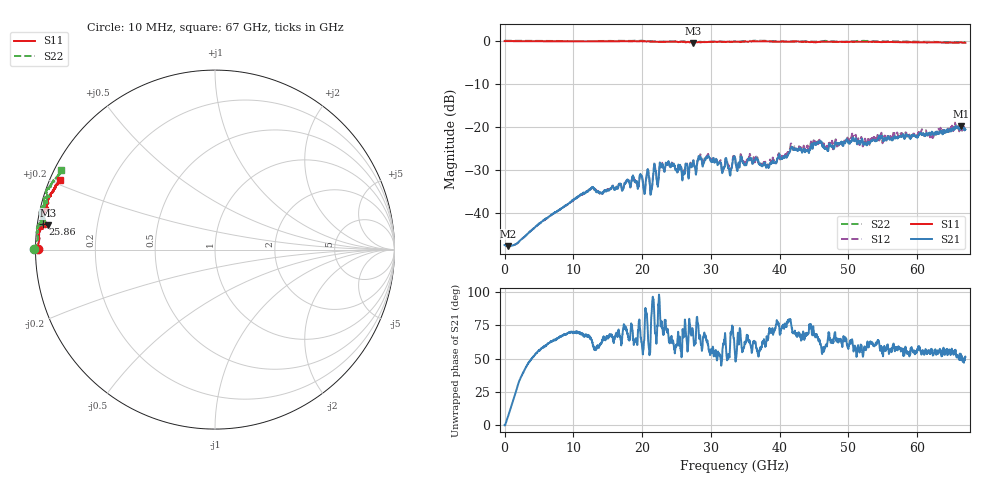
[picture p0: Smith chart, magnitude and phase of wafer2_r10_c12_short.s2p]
!Keysight Technologies,N5227A,US51270248,A.10.65.08
!Date: Tuesday, June 11, 2024 06:19:39
!Correction: S11(Full 2 Port(1,4))
!S41(Full 2 Port(1,4))
!S14(Full 2 Port(1,4))
!S44(Full 2 Port(1,4))
!S2P File: Measurements: S11, S41, S14, S44:
# Hz S  dB  R 50
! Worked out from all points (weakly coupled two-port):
!   3201 points, 10 MHz to 67 GHz, reference 50 ohm
!   highest |S21| = -19.73 dB at 66.33 GHz (marker M1); lowest = -47.5 dB at 533.4 MHz (marker M2)
!   lowest |S11| = -0.5 dB at 27.39 GHz (marker M3), VSWR 32.62, Z = 1.54 + j3.61 ohm
!   |S11| at or under -10 dB: nowhere
!   |S22| runs from -0.4 to 0.1 dB; largest |S21 - S12| = 0.018
!   S11 on the Smith chart (normalised r, x): 10 MHz: 0.01, +0.00; 25.86 GHz: 0.02, +0.07; 67 GHz: 0.03, +0.21
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1e7  -0.10 179.9  -47.31 0.3  -47.18 -1.2  0.05 180.0
5.333594e8  -0.10 179.8  -47.54 7.1  -47.56 7.3  -0.02 179.9
1.118896e10  -0.17 176.6  -35.49 68.1  -35.68 69.3  -0.09 176.2
1.87672e10  -0.12 174.2  -31.58 62.4  -31.66 64.6  -0.01 173.3
2.033728e10  -0.15 173.2  -35.52 68.1  -35.16 70.0  -0.07 172.1
2.081877e10  -0.14 173.4  -29.85 71.6  -29.90 70.8  -0.10 172.4
2.130026e10  -0.22 172.9  -35.24 77.3  -34.87 80.9  -0.11 171.5
2.178175e10  -0.26 172.9  -28.53 80.9  -28.12 81.7  -0.18 172.0
2.234698e10  -0.28 172.7  -32.36 90.5  -32.22 90.9  -0.19 171.5
2.27866e10  -0.26 173.0  -29.14 76.5  -28.92 79.5  -0.23 171.6
2.372865e10  -0.19 172.8  -28.37 72.1  -28.40 73.5  -0.19 171.9
2.586395e10  -0.28 171.5  -32.33 67.3  -32.03 69.3  -0.22 170.5
2.739216e10  -0.53 171.7  -28.00 71.1  -28.03 71.2  -0.18 169.9
2.959027e10  -0.32 172.1  -26.84 60.7  -26.22 60.3  -0.22 170.2
3.275136e10  -0.26 170.5  -31.02 55.6  -30.66 56.6  -0.22 169.0
3.3505e10  -0.25 170.7  -27.03 54.1  -27.21 55.1  -0.15 169.2
3.823617e10  -0.17 168.4  -29.00 63.8  -28.97 63.5  -0.06 166.5
4.179501e10  -0.21 167.4  -24.80 73.0  -24.80 67.4  -0.14 165.4
4.468396e10  -0.29 166.2  -24.09 68.2  -23.58 64.0  -0.19 164.3
5.584198e10  -0.31 161.3  -22.16 55.6  -22.36 56.4  -0.14 158.7
6.63301e10  -0.43 156.3  -19.73 51.8  -20.57 49.9  -0.32 153.2
6.7e10  -0.48 156.0  -20.53 51.3  -20.92 52.9  -0.29 152.6
